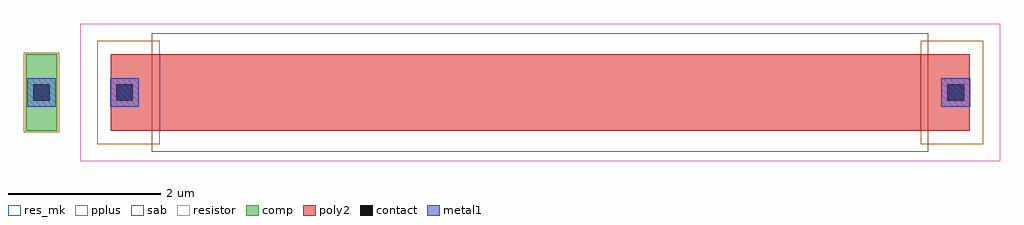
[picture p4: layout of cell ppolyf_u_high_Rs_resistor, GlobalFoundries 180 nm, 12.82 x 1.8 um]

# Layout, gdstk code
import gdstk
lib = gdstk.Library(unit=1e-6, precision=1e-09)
def R(c, l, rs):  # rectangles x0, y0, x1, y1
    for r in rs: c.add(gdstk.rectangle(r[:2], r[2:], *l))
comp = (22, 0)
poly2 = (30, 0)
pplus = (31, 0)
contact = (33, 0)
metal1 = (34, 0)
sab = (49, 0)
resistor = (62, 0)
res_mk = (110, 5)

ppolyf_u_high_rs_resisto = lib.new_cell('ppolyf_u_high_Rs_resistor')
R(ppolyf_u_high_rs_resisto, comp, [(-1.76,0,-1.34,1)])
R(ppolyf_u_high_rs_resisto, poly2, [(-0.64,0,10.64,1)])
R(ppolyf_u_high_rs_resisto, pplus, [(-0.82,-0.18,0,1.18), (10,-0.18,10.82,1.18), (-1.78,-0.02,-1.32,1.02)])
R(ppolyf_u_high_rs_resisto, contact, [(-1.66,0.39,-1.44,0.61), (-0.57,0.39,-0.35,0.61), (10.35,0.39,10.57,0.61)])
R(ppolyf_u_high_rs_resisto, metal1, [(-1.74,0.31,-1.36,0.69), (-0.65,0.31,-0.27,0.69), (10.27,0.31,10.65,0.69)])
R(ppolyf_u_high_rs_resisto, sab, [(-0.1,-0.28,10.1,1.28)])
R(ppolyf_u_high_rs_resisto, resistor, [(-1.04,-0.4,11.04,1.4)])
R(ppolyf_u_high_rs_resisto, res_mk, [(0,0,10,1)])

lib.write_gds('ppolyf_u_high_Rs_resistor.gds')
